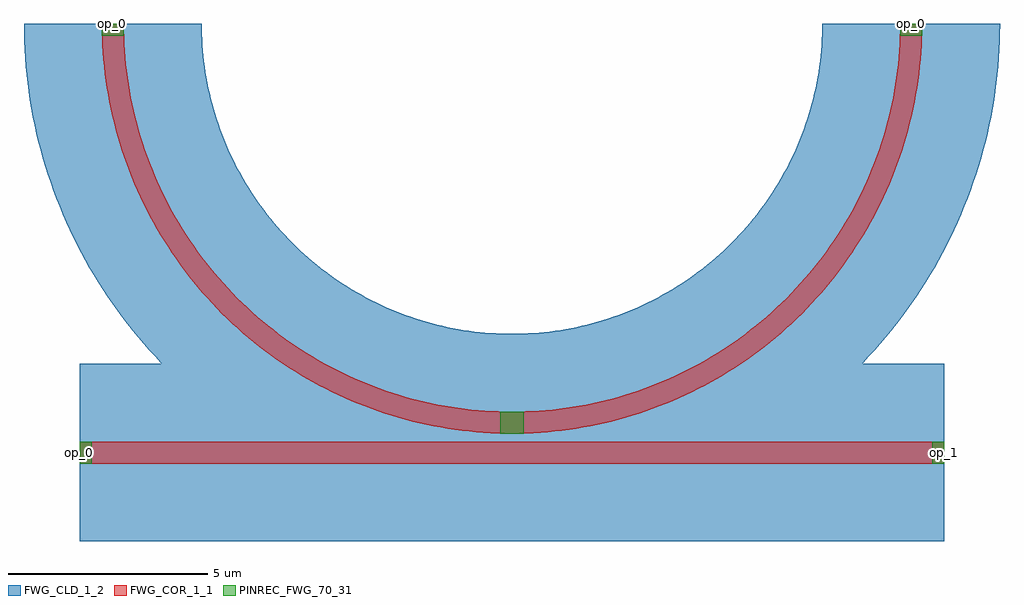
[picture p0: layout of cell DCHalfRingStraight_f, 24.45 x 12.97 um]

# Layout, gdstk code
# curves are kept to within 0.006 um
from math import pi, radians
import gdstk
lib = gdstk.Library(unit=1e-6, precision=1e-09)
def R(c, l, rs):  # rectangles x0, y0, x1, y1
    for r in rs: c.add(gdstk.rectangle(r[:2], r[2:], *l))
def P(c, l, *ps):  # polygons
    for p in ps: c.add(gdstk.Polygon(p, *l))
FWG_COR_1_1 = (1, 1)
FWG_CLD_1_2 = (1, 2)
PINREC_FWG_70_31 = (70, 31)

c_wg = lib.new_cell('wg')
P(c_wg, FWG_COR_1_1, [(9.725,0),(9.712,0.509),(9.672,1.017),(9.605,1.521),(9.546,1.856),(9.476,2.188),(9.348,2.681),(9.195,3.166),(9.017,3.643),(8.814,4.11),(8.587,4.566),(8.336,5.009),(8.156,5.297),(7.868,5.716),(7.558,6.12),(7.34,6.38),(6.996,6.756),(6.756,6.996),(6.38,7.34),(5.853,7.767),(5.578,7.966),(5.153,8.247),(4.715,8.506),(4.415,8.665),(4.11,8.814),(3.8,8.952),(3.326,9.139),(2.681,9.348),(2.188,9.476),(1.689,9.577),(1.185,9.653),(0.509,9.712),(0,9.725),(0,10.275),(0.538,10.261),(1.074,10.219),(1.607,10.149),(2.136,10.05),(2.659,9.925),(3.175,9.772),(3.682,9.593),(4.179,9.387),(4.665,9.155),(4.981,8.987),(5.445,8.714),(5.894,8.417),(6.326,8.097),(6.741,7.755),(7.138,7.391),(7.515,7.008),(7.871,6.605),(8.206,6.184),(8.518,5.746),(8.714,5.445),(8.898,5.138),(9.155,4.665),(9.387,4.179),(9.593,3.682),(9.826,3.004),(9.925,2.659),(10.012,2.311),(10.149,1.607),(10.236,0.896),(10.269,0.359),(10.275,0)])
P(c_wg, FWG_CLD_1_2, [(7.775,0),(7.764,0.407),(7.732,0.813),(7.699,1.082),(7.632,1.484),(7.576,1.749),(7.474,2.143),(7.351,2.531),(7.209,2.913),(7.103,3.162),(6.928,3.53),(6.733,3.887),(6.521,4.235),(6.29,4.57),(6.042,4.893),(5.778,5.202),(5.498,5.498),(5.202,5.778),(4.893,6.042),(4.57,6.29),(4.235,6.521),(3.887,6.733),(3.53,6.928),(3.162,7.103),(2.913,7.209),(2.531,7.351),(2.143,7.474),(1.749,7.576),(1.484,7.632),(1.082,7.699),(0.813,7.732),(0.407,7.764),(0,7.775),(0,12.225),(0.427,12.218),(0.853,12.195),(1.49,12.134),(1.912,12.075),(2.333,12),(2.75,11.912),(3.164,11.809),(3.778,11.627),(4.181,11.488),(4.58,11.335),(5.167,11.08),(5.55,10.893),(5.927,10.692),(6.296,10.479),(6.658,10.253),(7.186,9.89),(7.527,9.633),(7.858,9.365),(8.337,8.941),(8.794,8.492),(9.085,8.18),(9.365,7.858),(9.633,7.527),(9.89,7.186),(10.253,6.658),(10.479,6.296),(10.692,5.927),(10.893,5.55),(11.08,5.167),(11.335,4.58),(11.488,4.181),(11.627,3.778),(11.752,3.37),(11.862,2.958),(11.958,2.542),(12.039,2.123),(12.106,1.701),(12.158,1.278),(12.195,0.853),(12.218,0.427),(12.225,0)])
R(c_wg, PINREC_FWG_70_31, [(9.725,0,10.275,0.3), (0,9.725,0.3,10.275)])
c_wg.add(gdstk.Label('op_0', (10,0), layer=70, texttype=41))
c_wg.add(gdstk.Label('op_1', (0,10), layer=70, texttype=41))

bendcircular_left_bend = lib.new_cell('BendCircular_left_bend')
R(bendcircular_left_bend, PINREC_FWG_70_31, [(9.725,0,10.275,0.3), (0,9.725,0.3,10.275)])
bendcircular_left_bend.add(gdstk.Reference(c_wg, (0,0)))
bendcircular_left_bend.add(gdstk.Label('op_0', (10,0), layer=70, texttype=41))
bendcircular_left_bend.add(gdstk.Label('op_1', (0,10), layer=70, texttype=41))

wg_x1 = lib.new_cell('wg_x1')
R(wg_x1, FWG_COR_1_1, [(-10.825,-0.275,10.825,0.275)])
P(wg_x1, FWG_CLD_1_2, [(-10.825,2.225),(10.825,2.225),(10.825,0.275),(10.825,-0.275),(10.825,-2.225),(-10.825,-2.225),(-10.825,-0.275),(-10.825,0.275)])
R(wg_x1, PINREC_FWG_70_31, [(-10.825,-0.275,-10.525,0.275), (10.525,-0.275,10.825,0.275)])
wg_x1.add(gdstk.Label('op_0', (-10.825,0), layer=70, texttype=41))
wg_x1.add(gdstk.Label('op_1', (10.825,0), layer=70, texttype=41))

straight_bottom_waveguid = lib.new_cell('Straight_bottom_waveguide')
R(straight_bottom_waveguid, PINREC_FWG_70_31, [(-10.825,-0.275,-10.525,0.275), (10.525,-0.275,10.825,0.275)])
straight_bottom_waveguid.add(gdstk.Reference(wg_x1, (0,0)))
straight_bottom_waveguid.add(gdstk.Label('op_0', (-10.825,0), layer=70, texttype=41))
straight_bottom_waveguid.add(gdstk.Label('op_1', (10.825,0), layer=70, texttype=41))

dchalfringstraight_f = lib.new_cell('DCHalfRingStraight_f')
R(dchalfringstraight_f, PINREC_FWG_70_31, [(-10.825,-11.025,-10.525,-10.475), (10.525,-11.025,10.825,-10.475), (-10.275,-0.3,-9.725,0), (9.725,-0.3,10.275,0)])
dchalfringstraight_f.add(gdstk.Reference(bendcircular_left_bend, (0,0), rotation=pi))
dchalfringstraight_f.add(gdstk.Reference(straight_bottom_waveguid, (0,-10.75)))
dchalfringstraight_f.add(gdstk.Reference(bendcircular_left_bend, (0,0), x_reflection=True))
dchalfringstraight_f.add(gdstk.Label('op_0', (-10,0), layer=70, texttype=41))
dchalfringstraight_f.add(gdstk.Label('op_0', (-10.825,-10.75), layer=70, texttype=41))
dchalfringstraight_f.add(gdstk.Label('op_1', (10.825,-10.75), layer=70, texttype=41))
dchalfringstraight_f.add(gdstk.Label('op_0', (10,0), layer=70, texttype=41))

lib.write_gds('DCHalfRingStraight_f.gds')
